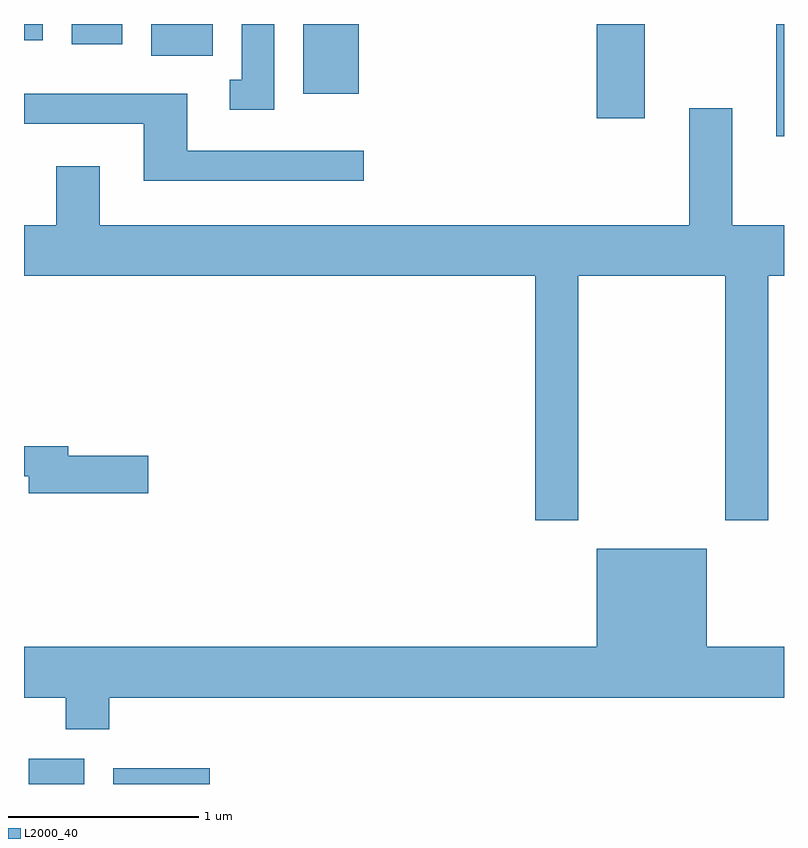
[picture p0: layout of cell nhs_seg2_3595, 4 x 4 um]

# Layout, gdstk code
import gdstk
lib = gdstk.Library(unit=1e-6, precision=1e-09)
def R(c, l, rs):  # rectangles x0, y0, x1, y1
    for r in rs: c.add(gdstk.rectangle(r[:2], r[2:], *l))
def P(c, l, *ps):  # polygons
    for p in ps: c.add(gdstk.Polygon(p, *l))
L2000_40 = (2000, 40)

nhs_seg2_3595 = lib.new_cell('nhs_seg2_3595')
R(nhs_seg2_3595, L2000_40, [(289.636,1107.802,289.929,1107.934), (290.081,1107.802,290.588,1107.884), (293.571,1111.211,293.611,1111.802), (292.626,1111.306,292.879,1111.802), (291.081,1111.436,291.374,1111.802), (290.281,1111.636,290.604,1111.802), (289.861,1111.696,290.129,1111.802), (289.611,1111.716,289.709,1111.802)])
P(nhs_seg2_3595, L2000_40, [(290.929,1111.802),(290.756,1111.802),(290.756,1111.509),(290.693,1111.509),(290.693,1111.351),(290.929,1111.351)],
  [(291.398,1111.134),(290.469,1111.134),(290.469,1111.434),(289.611,1111.434),(289.611,1111.276),(290.241,1111.276),(290.241,1110.976),(291.398,1110.976)],
  [(292.529,1110.476),(293.301,1110.476),(293.301,1109.191),(293.529,1109.191),(293.529,1110.476),(293.611,1110.476),(293.611,1110.744),(293.339,1110.744),(293.339,1111.359),(293.111,1111.359),(293.111,1110.744),(290.009,1110.744),(290.009,1111.054),(289.781,1111.054),(289.781,1110.744),(289.611,1110.744),(289.611,1110.476),(292.301,1110.476),(292.301,1109.191),(292.529,1109.191)],
  [(290.264,1109.529),(289.844,1109.529),(289.844,1109.579),(289.611,1109.579),(289.611,1109.421),(289.636,1109.421),(289.636,1109.331),(290.264,1109.331)],
  [(290.059,1108.256),(293.611,1108.256),(293.611,1108.524),(293.204,1108.524),(293.204,1109.039),(292.626,1109.039),(292.626,1108.524),(289.611,1108.524),(289.611,1108.256),(289.831,1108.256),(289.831,1108.091),(290.059,1108.091)])

lib.write_gds('nhs_seg2_3595.gds')
